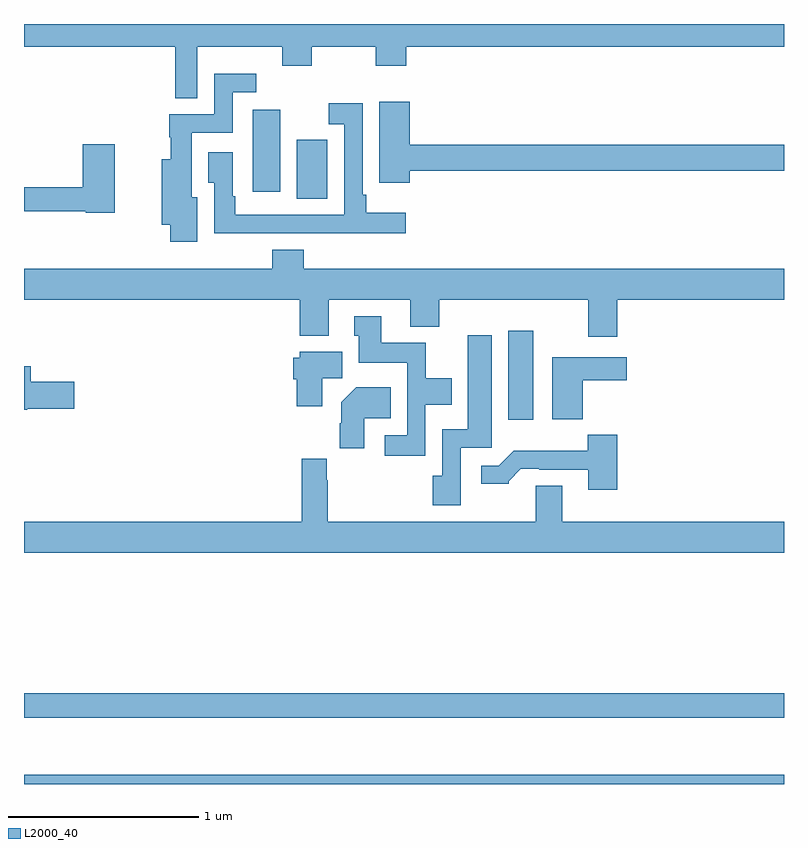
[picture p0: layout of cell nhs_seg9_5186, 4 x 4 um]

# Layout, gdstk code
import gdstk
lib = gdstk.Library(unit=1e-6, precision=1e-09)
def R(c, l, rs):  # rectangles x0, y0, x1, y1
    for r in rs: c.add(gdstk.rectangle(r[:2], r[2:], *l))
def P(c, l, *ps):  # polygons
    for p in ps: c.add(gdstk.Polygon(p, *l))
L2000_40 = (2000, 40)

nhs_seg9_5186 = lib.new_cell('nhs_seg9_5186')
R(nhs_seg9_5186, L2000_40, [(411,1232.5,415,1232.548), (411,1232.85,415,1232.978), (413.549,1234.416,413.68,1234.885), (412.436,1235.581,412.597,1235.892), (412.205,1235.618,412.348,1236.049)])
P(nhs_seg9_5186, L2000_40, [(411.913,1236.38),(412.36,1236.38),(412.36,1236.281),(412.515,1236.281),(412.515,1236.38),(412.852,1236.38),(412.852,1236.281),(413.012,1236.281),(413.012,1236.38),(415,1236.38),(415,1236.5),(411,1236.5),(411,1236.38),(411.795,1236.38),(411.795,1236.109),(411.913,1236.109)],
  [(411.913,1235.587),(411.883,1235.587),(411.883,1235.928),(412.098,1235.928),(412.098,1236.141),(412.222,1236.141),(412.222,1236.238),(412.002,1236.238),(412.002,1236.024),(411.765,1236.024),(411.765,1235.903),(411.772,1235.903),(411.772,1235.788),(411.725,1235.788),(411.725,1235.444),(411.77,1235.444),(411.77,1235.355),(411.913,1235.355)],
  [(413.03,1235.728),(415,1235.728),(415,1235.864),(413.03,1235.864),(413.03,1236.091),(412.871,1236.091),(412.871,1235.664),(413.03,1235.664)],
  [(412.223,1235.4),(412.589,1235.4),(412.589,1235.399),(413.008,1235.399),(413.008,1235.506),(412.802,1235.506),(412.802,1235.602),(412.782,1235.602),(412.782,1236.082),(412.605,1236.082),(412.605,1235.973),(412.686,1235.973),(412.686,1235.496),(412.111,1235.496),(412.111,1235.593),(412.098,1235.593),(412.098,1235.824),(411.971,1235.824),(411.971,1235.665),(412.002,1235.665),(412.002,1235.399),(412.223,1235.399)],
  [(411.478,1235.866),(411.308,1235.866),(411.308,1235.642),(411,1235.642),(411,1235.514),(411.324,1235.514),(411.324,1235.506),(411.478,1235.506)],
  [(414.122,1235.048),(415,1235.048),(415,1235.212),(412.472,1235.212),(412.472,1235.311),(412.307,1235.311),(412.307,1235.212),(411,1235.212),(411,1235.048),(412.451,1235.048),(412.451,1234.859),(412.603,1234.859),(412.603,1235.048),(413.033,1235.048),(413.033,1234.907),(413.186,1234.907),(413.186,1235.048),(413.969,1235.048),(413.969,1234.854),(414.122,1234.854)],
  [(413.112,1234.496),(413.251,1234.496),(413.251,1234.636),(413.115,1234.636),(413.115,1234.822),(412.879,1234.822),(412.879,1234.963),(412.739,1234.963),(412.739,1234.86),(412.763,1234.86),(412.763,1234.718),(413.016,1234.718),(413.016,1234.335),(412.899,1234.335),(412.899,1234.227),(413.112,1234.227)],
  [(413.298,1234.269),(413.461,1234.269),(413.461,1234.861),(413.336,1234.861),(413.336,1234.366),(413.202,1234.366),(413.202,1234.122),(413.15,1234.122),(413.15,1233.966),(413.298,1233.966)],
  [(412.57,1234.636),(412.675,1234.636),(412.675,1234.774),(412.452,1234.774),(412.452,1234.743),(412.418,1234.743),(412.418,1234.629),(412.436,1234.629),(412.436,1234.488),(412.57,1234.488)],
  [(413.942,1234.625),(414.172,1234.625),(414.172,1234.747),(413.78,1234.747),(413.78,1234.421),(413.942,1234.421)],
  [(411.018,1234.475),(411.265,1234.475),(411.265,1234.617),(411.035,1234.617),(411.035,1234.699),(411,1234.699),(411,1234.469),(411.018,1234.469)],
  [(412.792,1234.424),(412.931,1234.424),(412.931,1234.588),(412.748,1234.588),(412.67,1234.51),(412.67,1234.4),(412.661,1234.4),(412.661,1234.266),(412.792,1234.266)],
  [(414.122,1234.339),(413.967,1234.339),(413.967,1234.255),(413.578,1234.255),(413.499,1234.176),(413.406,1234.176),(413.406,1234.079),(413.55,1234.079),(413.55,1234.094),(413.614,1234.158),(413.713,1234.158),(413.713,1234.155),(413.969,1234.155),(413.969,1234.05),(414.122,1234.05)],
  [(415,1233.88),(413.833,1233.88),(413.833,1234.07),(413.693,1234.07),(413.693,1233.88),(412.598,1233.88),(412.598,1234.1),(412.594,1234.1),(412.594,1234.213),(412.462,1234.213),(412.462,1233.88),(411,1233.88),(411,1233.716),(415,1233.716)])

lib.write_gds('nhs_seg9_5186.gds')
